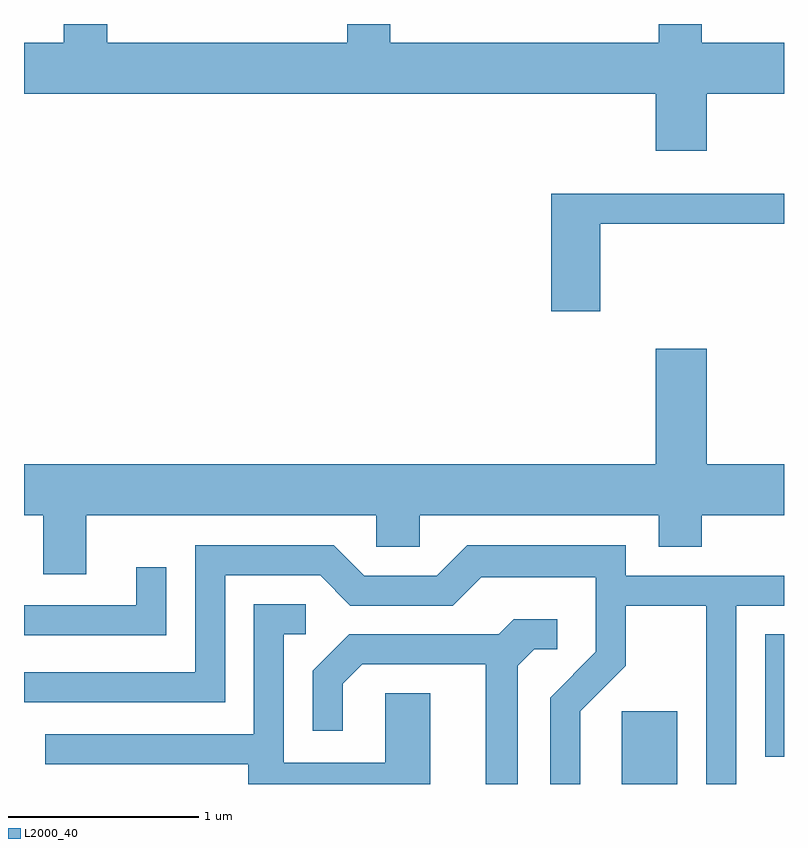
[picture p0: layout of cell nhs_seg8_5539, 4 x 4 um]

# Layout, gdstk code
import gdstk
lib = gdstk.Library(unit=1e-6, precision=1e-09)
def R(c, l, rs):  # rectangles x0, y0, x1, y1
    for r in rs: c.add(gdstk.rectangle(r[:2], r[2:], *l))
def P(c, l, *ps):  # polygons
    for p in ps: c.add(gdstk.Polygon(p, *l))
L2000_40 = (2000, 40)

nhs_seg8_5539 = lib.new_cell('nhs_seg8_5539')
R(nhs_seg8_5539, L2000_40, [(354.756,1828.342,355.049,1828.724), (355.511,1828.486,355.611,1829.129)])
P(nhs_seg8_5539, L2000_40, [(355.204,1831.976),(355.611,1831.976),(355.611,1832.244),(355.179,1832.244),(355.179,1832.342),(354.951,1832.342),(354.951,1832.244),(353.539,1832.244),(353.539,1832.342),(353.311,1832.342),(353.311,1832.244),(352.049,1832.244),(352.049,1832.342),(351.821,1832.342),(351.821,1832.244),(351.611,1832.244),(351.611,1831.976),(354.936,1831.976),(354.936,1831.676),(355.204,1831.676)],
  [(354.644,1831.291),(355.611,1831.291),(355.611,1831.449),(354.386,1831.449),(354.386,1830.831),(354.644,1830.831)],
  [(351.611,1829.756),(351.711,1829.756),(351.711,1829.446),(351.939,1829.446),(351.939,1829.756),(353.466,1829.756),(353.466,1829.591),(353.694,1829.591),(353.694,1829.756),(354.951,1829.756),(354.951,1829.591),(355.179,1829.591),(355.179,1829.756),(355.611,1829.756),(355.611,1830.024),(355.204,1830.024),(355.204,1830.634),(354.936,1830.634),(354.936,1830.024),(351.611,1830.024)],
  [(354.539,1828.724),(354.779,1828.964),(354.779,1829.281),(355.201,1829.281),(355.201,1828.342),(355.359,1828.342),(355.359,1829.281),(355.611,1829.281),(355.611,1829.439),(354.779,1829.439),(354.779,1829.599),(353.944,1829.599),(353.784,1829.439),(353.402,1829.439),(353.242,1829.599),(352.511,1829.599),(352.511,1828.929),(351.611,1828.929),(351.611,1828.771),(352.669,1828.771),(352.669,1829.441),(353.169,1829.441),(353.329,1829.281),(353.867,1829.281),(354.017,1829.431),(354.621,1829.431),(354.621,1829.037),(354.381,1828.797),(354.381,1828.342),(354.539,1828.342)],
  [(352.359,1829.483),(352.201,1829.483),(352.201,1829.284),(351.611,1829.284),(351.611,1829.126),(352.359,1829.126)],
  [(353.749,1828.819),(353.511,1828.819),(353.511,1828.454),(352.979,1828.454),(352.979,1829.131),(353.093,1829.131),(353.093,1829.289),(352.821,1829.289),(352.821,1828.604),(351.723,1828.604),(351.723,1828.446),(352.791,1828.446),(352.791,1828.342),(353.749,1828.342)],
  [(354.209,1828.964),(354.297,1829.051),(354.418,1829.051),(354.418,1829.209),(354.189,1829.209),(354.109,1829.129),(353.324,1829.129),(353.131,1828.937),(353.131,1828.623),(353.289,1828.623),(353.289,1828.869),(353.392,1828.971),(354.041,1828.971),(354.041,1828.342),(354.209,1828.342)])

lib.write_gds('nhs_seg8_5539.gds')
